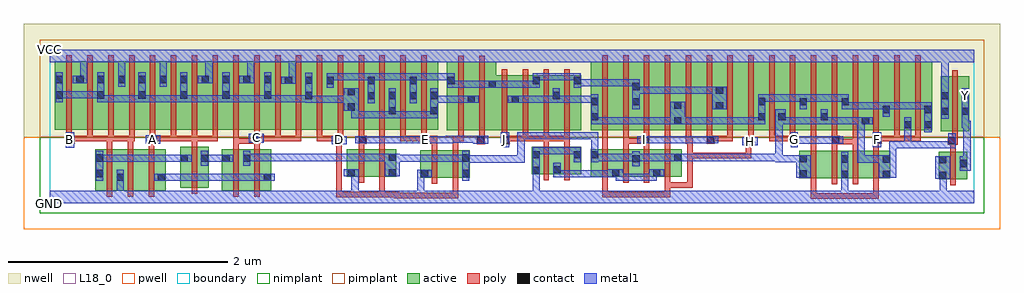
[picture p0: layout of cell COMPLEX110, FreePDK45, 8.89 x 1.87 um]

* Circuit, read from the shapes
.subckt COMPLEX110 A B C D E F G GND H I J VCC Y
M1 GND B n1 VSUBS nfet w=0.375u l=0.05u
M2 n2 B GND VSUBS nfet w=0.375u l=0.05u
M3 n3 A n2 VSUBS nfet w=0.375u l=0.05u
M4 n4 A n1 VSUBS nfet w=0.375u l=0.05u
M5 n5 C n4 VSUBS nfet w=0.375u l=0.05u
M6 n3 C n5 VSUBS nfet w=0.375u l=0.05u
M7 n6 E GND VSUBS nfet w=0.25u l=0.05u
M8 n5 D n6 VSUBS nfet w=0.25u l=0.05u
M9 n7 E GND VSUBS nfet w=0.25u l=0.05u
M10 n5 D n7 VSUBS nfet w=0.25u l=0.05u
M11 n8 J GND VSUBS nfet w=0.25u l=0.05u m=2
M12 n8 H n5 VSUBS nfet w=0.25u l=0.05u m=2
M13 n5 I n8 VSUBS nfet w=0.25u l=0.05u m=2
M14 n9 F n5 VSUBS nfet w=0.25u l=0.05u
M15 GND G n9 VSUBS nfet w=0.25u l=0.05u
M16 n10 G GND VSUBS nfet w=0.25u l=0.05u
M17 n5 F n10 VSUBS nfet w=0.25u l=0.05u
M18 Y n5 GND VSUBS nfet w=0.25u l=0.05u
M19 VCC B n11 n12 pfet w=0.625u l=0.05u m=4
M20 VCC A n11 n12 pfet w=0.625u l=0.05u m=4
M21 VCC C n11 n12 pfet w=0.625u l=0.05u m=4
M22 n13 D n11 n12 pfet w=0.625u l=0.05u m=4
M23 n13 E n11 n12 pfet w=0.625u l=0.05u m=4
M24 n14 J n13 n12 pfet w=0.5u l=0.05u m=4
M25 n15 H n14 n12 pfet w=0.625u l=0.05u
M26 n13 I n15 n12 pfet w=0.625u l=0.05u
M27 n16 I n13 n12 pfet w=0.625u l=0.05u
M28 n14 H n16 n12 pfet w=0.625u l=0.05u
M29 n17 H n14 n12 pfet w=0.625u l=0.05u
M30 n13 I n17 n12 pfet w=0.625u l=0.05u
M31 n18 I n13 n12 pfet w=0.625u l=0.05u
M32 n14 H n18 n12 pfet w=0.625u l=0.05u
M33 n5 G n14 n12 pfet w=0.625u l=0.05u m=4
M34 n5 F n14 n12 pfet w=0.625u l=0.05u m=4
M35 Y n5 VCC n12 pfet w=0.5u l=0.05u
.ends

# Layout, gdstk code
import gdstk
lib = gdstk.Library(unit=1e-6, precision=1e-09)
def R(c, l, rs):  # rectangles x0, y0, x1, y1
    for r in rs: c.add(gdstk.rectangle(r[:2], r[2:], *l))
def A(c, l, x, y, w, h, nx, ny, dx, dy):  # array of equal rectangles
    R(c, l, [(x+i*dx, y+j*dy, x+i*dx+w, y+j*dy+h) for i in range(nx) for j in range(ny)])
active = (1, 0)
pwell = (2, 0)
nwell = (3, 0)
nimplant = (4, 0)
pimplant = (5, 0)
poly = (9, 0)
contact = (10, 0)
metal1 = (11, 0)
L18_0 = (18, 0)
boundary = (235, 0)

complex110 = lib.new_cell('COMPLEX110')
A(complex110, active, 5.152, 0.667, 0.225, 0.625, 3, 1, 0.38, 0)
A(complex110, active, 5.302, 0.667, 0.23, 0.625, 3, 1, 0.38, 0)
A(complex110, active, 0.047, 0.67, 0.265, 0.625, 3, 1, 0.19, 0)
A(complex110, active, 1.377, 0.67, 0.265, 0.625, 4, 1, 0.19, 0)
A(complex110, active, 2.892, 0.67, 0.265, 0.625, 3, 1, 0.19, 0)
A(complex110, active, 0.237, 0.682, 0.075, 0.6, 6, 1, 0.38, 0)
A(complex110, active, 6.447, 0.682, 0.075, 0.518, 3, 1, 0.38, 0)
R(complex110, active, [(0.415,0.117,0.68,0.492), (0.605,0.117,0.83,0.492), (0.605,0.117,0.68,0.467), (0.83,0.117,1.055,0.492), (1.567,0.117,1.832,0.492), (1.757,0.117,2.017,0.492), (1.187,0.142,1.447,0.517), (0.415,0.172,0.49,0.492), (0.98,0.172,1.055,0.492), (1.187,0.172,1.262,0.517), (1.372,0.172,1.447,0.517), (1.567,0.172,1.642,0.492), (1.757,0.172,1.832,0.467), (1.942,0.172,2.017,0.492), (8.097,0.22,8.357,0.47), (8.097,0.22,8.172,0.47), (6.827,0.227,7.052,0.477), (7.052,0.227,7.277,0.477), (7.202,0.227,7.432,0.477), (7.202,0.227,7.277,0.467), (7.432,0.227,7.657,0.477), (7.582,0.227,7.657,0.477), (6.827,0.23,6.902,0.477), (8.282,0.232,8.357,0.47), (3.375,0.235,3.45,0.485), (3.375,0.235,3.6,0.485), (3.6,0.235,3.825,0.485), (3.75,0.235,3.825,0.485), (2.707,0.242,2.782,0.492), (2.707,0.242,2.932,0.492), (2.932,0.242,3.157,0.492), (3.082,0.242,3.157,0.492), (4.927,0.242,5.192,0.492), (5.117,0.242,5.377,0.492), (5.117,0.242,5.192,0.492), (5.302,0.242,5.567,0.492), (5.492,0.242,5.757,0.492), (5.492,0.242,5.567,0.387), (5.682,0.242,5.757,0.492), (4.392,0.265,4.467,0.515), (4.392,0.265,4.657,0.515), (4.582,0.265,4.842,0.515), (4.582,0.267,4.657,0.342), (4.767,0.297,4.842,0.515), (4.927,0.297,5.002,0.492), (5.302,0.297,5.377,0.492), (8.117,0.657,8.192,1.157), (8.117,0.657,8.377,1.157), (8.302,0.657,8.377,1.157), (3.617,0.665,3.877,1.29), (3.617,0.665,3.692,1.2), (3.802,0.665,4.067,1.29), (3.992,0.665,4.277,1.165), (4.202,0.665,4.467,1.165), (4.202,0.665,4.277,1.07), (4.392,0.665,4.652,1.165), (4.577,0.665,4.842,1.165), (4.927,0.667,5.152,1.292), (4.927,0.667,5.032,1.07), (5.682,0.667,5.757,1.07), (6.292,0.667,6.522,1.292), (6.447,0.667,6.707,1.292), (6.632,0.667,6.902,1.292), (6.827,0.667,7.092,1.292), (7.017,0.667,7.282,1.292), (7.207,0.667,7.467,1.292), (7.392,0.667,7.657,1.292), (7.582,0.667,7.852,1.292), (7.777,0.667,8.037,1.292), (7.777,0.667,7.852,1.07), (7.962,0.667,8.037,1.2), (0.047,0.67,0.122,1.2), (0.617,0.67,0.877,1.295), (0.802,0.67,1.072,1.295), (0.997,0.67,1.257,1.295), (1.182,0.67,1.452,1.295), (2.137,0.67,2.397,1.295), (2.322,0.67,2.592,1.295), (2.517,0.67,2.782,1.295), (2.707,0.67,2.967,1.295), (2.707,0.67,2.782,1.07), (3.462,0.67,3.537,1.07), (0.427,0.682,0.502,1.2), (0.802,0.682,0.877,1.2), (1.182,0.682,1.257,1.2), (1.567,0.682,1.642,1.2), (1.947,0.682,2.022,1.2), (2.322,0.682,2.397,1.2), (2.517,0.682,2.592,1.2), (2.892,0.682,2.967,1.2), (3.082,0.682,3.157,1.07), (3.272,0.682,3.347,1.2), (3.802,0.682,3.877,1.07), (4.577,0.682,4.652,1.07), (5.302,0.682,5.377,1.2), (6.062,0.682,6.137,1.2), (6.632,0.682,6.707,1.07), (7.017,0.682,7.092,1.07), (7.392,0.682,7.467,1.07), (7.582,0.682,7.657,1.2), (4.392,0.72,4.467,1.157), (4.767,0.72,4.842,1.157), (3.992,0.807,4.067,1.2)])
R(complex110, pwell, [(-0.235,-0.235,8.655,0.602)])
R(complex110, nwell, [(-0.235,0.602,8.655,1.635)])
R(complex110, nimplant, [(-0.09,-0.09,8.51,0.602)])
R(complex110, pimplant, [(-0.09,0.602,8.51,1.49)])
A(complex110, poly, 0.52, 0.062, 0.05, 0.485, 3, 1, 0.19, 0)
A(complex110, poly, 6.932, 0.172, 0.05, 0.36, 4, 1, 0.19, 0)
A(complex110, poly, 5.032, 0.187, 0.05, 0.36, 4, 1, 0.19, 0)
A(complex110, poly, 5.982, 0.542, 0.075, 0.075, 3, 1, 0.76, 0)
A(complex110, poly, 4.117, 0.565, 0.05, 0.095, 4, 1, 0.19, 0)
A(complex110, poly, 0.152, 0.567, 0.05, 0.098, 8, 1, 0.19, 0)
A(complex110, poly, 2.052, 0.567, 0.05, 0.05, 3, 1, 0.19, 0)
A(complex110, poly, 2.052, 0.567, 0.05, 0.098, 8, 1, 0.19, 0)
A(complex110, poly, 3.002, 0.567, 0.05, 0.05, 3, 1, 0.19, 0)
A(complex110, poly, 6.552, 0.567, 0.05, 0.095, 3, 1, 0.19, 0)
A(complex110, poly, 7.502, 0.567, 0.05, 0.095, 3, 1, 0.19, 0)
A(complex110, poly, 4.117, 0.61, 0.05, 0.61, 4, 1, 0.19, 0)
A(complex110, poly, 5.032, 0.612, 0.05, 0.735, 16, 1, 0.19, 0)
A(complex110, poly, 0.152, 0.615, 0.05, 0.735, 18, 1, 0.19, 0)
R(complex110, poly, [(6.932,0.04,6.982,0.09), (6.932,0.04,6.982,0.09), (6.932,0.04,6.982,0.09), (6.932,0.04,6.982,0.222), (6.932,0.04,7.197,0.09), (7.147,0.04,7.197,0.09), (7.147,0.04,7.197,0.09), (7.147,0.04,7.197,0.09), (7.147,0.04,7.42,0.09), (7.37,0.04,7.42,0.09), (7.37,0.04,7.42,0.09), (7.37,0.04,7.42,0.09), (7.37,0.04,7.552,0.09), (7.502,0.04,7.552,0.09), (7.502,0.04,7.552,0.222), (3.135,0.047,3.375,0.097), (3.135,0.047,3.185,0.105), (3.325,0.047,3.375,0.097), (3.325,0.047,3.375,0.097), (3.325,0.047,3.375,0.097), (3.325,0.047,3.587,0.097), (3.537,0.047,3.587,0.097), (3.537,0.047,3.587,0.097), (3.537,0.047,3.587,0.097), (3.537,0.047,3.72,0.097), (3.67,0.047,3.72,0.097), (3.67,0.047,3.72,0.23), (2.607,0.055,2.657,0.105), (2.607,0.055,2.657,0.105), (2.607,0.055,2.657,0.105), (2.607,0.055,2.657,0.105), (2.607,0.055,2.657,0.105), (2.607,0.055,2.92,0.105), (2.607,0.055,2.657,0.592), (2.87,0.055,2.92,0.105), (2.87,0.055,2.92,0.105), (2.87,0.055,2.92,0.105), (2.87,0.055,3.052,0.105), (3.002,0.055,3.052,0.105), (3.002,0.055,3.052,0.237), (3.002,0.055,3.185,0.105), (3.135,0.055,3.185,0.105), (3.135,0.055,3.185,0.105), (5.032,0.055,5.082,0.105), (5.032,0.055,5.082,0.237), (5.032,0.055,5.215,0.105), (5.165,0.055,5.215,0.105), (5.165,0.055,5.215,0.105), (5.165,0.055,5.215,0.105), (5.165,0.055,5.347,0.105), (5.297,0.055,5.347,0.105), (5.297,0.055,5.405,0.105), (5.355,0.055,5.405,0.105), (5.355,0.055,5.52,0.105), (5.47,0.055,5.52,0.105), (5.47,0.055,5.652,0.105), (5.602,0.055,5.652,0.192), (1.672,0.062,1.722,0.547), (1.862,0.062,1.912,0.547), (1.292,0.087,1.342,0.572), (5.602,0.142,5.652,0.237), (5.602,0.142,5.652,0.192), (5.602,0.142,5.652,0.192), (5.602,0.142,5.857,0.192), (5.807,0.142,5.857,0.192), (5.807,0.142,5.857,0.46), (8.202,0.165,8.252,0.525), (3.48,0.18,3.53,0.54), (3.67,0.18,3.72,0.54), (2.812,0.187,2.862,0.547), (3.002,0.187,3.052,0.547), (4.497,0.21,4.547,0.57), (4.687,0.21,4.737,0.57), (5.807,0.41,5.857,0.46), (5.807,0.41,5.857,0.46), (5.807,0.41,5.857,0.46), (5.807,0.41,5.857,0.592), (5.807,0.41,6.052,0.46), (6.002,0.41,6.052,0.46), (6.002,0.41,6.052,0.46), (6.002,0.41,6.052,0.46), (6.002,0.41,6.19,0.46), (6.14,0.41,6.19,0.46), (6.14,0.41,6.387,0.46), (6.337,0.41,6.387,0.46), (6.337,0.41,6.387,0.46), (6.337,0.41,6.387,0.46), (6.337,0.41,6.387,0.46), (6.337,0.41,6.387,0.46), (6.337,0.41,6.387,0.577), (8.202,0.475,8.252,0.582), (6.932,0.482,6.982,0.617), (7.122,0.482,7.172,0.59), (7.312,0.482,7.362,0.59), (7.502,0.482,7.552,0.592), (3.48,0.49,3.53,0.592), (3.67,0.49,3.72,0.615), (0.52,0.497,0.57,0.617), (0.71,0.497,0.76,0.617), (0.9,0.497,0.95,0.592), (1.672,0.497,1.722,0.592), (1.862,0.497,1.912,0.592), (2.812,0.497,2.862,0.592), (3.002,0.497,3.052,0.617), (5.032,0.497,5.082,0.617), (5.222,0.497,5.272,0.592), (5.412,0.497,5.462,0.592), (5.602,0.497,5.652,0.617), (4.497,0.52,4.547,0.615), (4.687,0.52,4.737,0.615), (1.292,0.522,1.342,0.617), (6.337,0.527,6.412,0.602), (8.18,0.532,8.272,0.607), (3.887,0.54,3.962,0.615), (4.115,0.54,4.19,0.615), (7.122,0.54,7.197,0.615), (7.147,0.54,7.197,0.59), (7.147,0.54,7.197,0.59), (7.147,0.54,7.362,0.59), (7.312,0.54,7.362,0.59), (7.312,0.54,7.362,0.662), (0.152,0.542,0.227,0.617), (0.9,0.542,0.977,0.617), (1.672,0.542,1.722,0.592), (1.672,0.542,1.722,0.592), (1.672,0.542,1.722,0.592), (1.672,0.542,1.892,0.592), (1.672,0.542,1.722,0.665), (1.842,0.542,1.917,0.62), (2.597,0.542,2.672,0.617), (2.607,0.542,2.657,0.592), (2.607,0.542,2.657,0.592), (2.812,0.542,2.887,0.617), (3.382,0.542,3.53,0.617), (5.222,0.542,5.272,0.592), (5.222,0.542,5.272,0.662), (5.222,0.542,5.347,0.592), (5.297,0.542,5.347,0.592), (5.297,0.542,5.437,0.592), (5.387,0.542,5.462,0.617), (5.792,0.542,5.842,0.592), (5.792,0.542,5.842,0.592), (5.792,0.542,5.842,0.662), (5.792,0.542,5.857,0.592), (6.362,0.552,6.412,0.662), (8.222,0.557,8.272,0.652), (3.67,0.565,3.772,0.615), (3.722,0.565,3.772,0.66), (3.912,0.565,3.962,0.66), (4.14,0.565,4.357,0.615), (4.307,0.565,4.357,0.615), (4.307,0.565,4.357,0.615), (4.307,0.565,4.357,0.615), (4.307,0.565,4.547,0.615), (4.497,0.565,4.547,0.615), (4.497,0.565,4.547,0.615), (4.497,0.565,4.547,0.615), (4.497,0.565,4.737,0.615), (4.687,0.565,4.737,0.615), (4.687,0.565,4.737,0.615), (4.687,0.565,4.737,0.615), (7.122,0.565,7.172,0.662), (0.177,0.567,0.227,0.617), (0.177,0.567,0.227,0.617), (0.177,0.567,0.392,0.617), (0.342,0.567,0.392,0.617), (0.342,0.567,0.57,0.617), (0.52,0.567,0.57,0.617), (0.52,0.567,0.57,0.617), (0.52,0.567,0.582,0.617), (0.532,0.567,0.76,0.617), (0.71,0.567,0.76,0.617), (0.71,0.567,0.76,0.617), (0.71,0.567,0.772,0.617), (0.927,0.567,0.977,0.617), (0.927,0.567,0.977,0.617), (0.927,0.567,1.152,0.617), (1.102,0.567,1.152,0.617), (1.102,0.567,1.152,0.617), (1.102,0.567,1.152,0.617), (1.102,0.567,1.342,0.617), (1.292,0.567,1.342,0.617), (1.292,0.567,1.342,0.617), (1.292,0.567,1.342,0.617), (1.292,0.567,1.532,0.617), (1.482,0.567,1.532,0.617), (1.867,0.567,1.917,0.617), (1.867,0.567,1.917,0.617), (1.867,0.567,2.102,0.617), (2.052,0.567,2.102,0.617), (2.052,0.567,2.102,0.617), (2.052,0.567,2.292,0.617), (2.432,0.567,2.482,0.617), (2.432,0.567,2.482,0.617), (2.432,0.567,2.647,0.617), (3.192,0.567,3.432,0.617), (3.382,0.567,3.432,0.617), (5.032,0.567,5.082,0.662), (5.032,0.567,5.082,0.617), (5.412,0.567,5.462,0.662), (5.602,0.567,5.652,0.662), (5.602,0.567,5.652,0.617), (5.982,0.567,6.032,0.662), (6.007,0.567,6.057,0.617), (6.007,0.567,6.057,0.617), (6.007,0.567,6.222,0.617), (6.172,0.567,6.222,0.662), (6.172,0.567,6.222,0.617), (6.552,0.567,6.602,0.617), (6.552,0.567,6.602,0.617), (6.552,0.567,6.602,0.617), (6.552,0.567,6.792,0.617), (6.932,0.567,6.982,0.617), (7.527,0.567,7.742,0.617), (7.692,0.567,7.742,0.617), (7.692,0.567,7.742,0.617), (7.692,0.567,7.742,0.617), (7.692,0.567,7.932,0.617), (7.882,0.567,7.932,0.617), (7.882,0.567,7.932,0.617), (7.882,0.567,7.932,0.617), (1.862,0.57,1.912,0.665), (8.222,0.602,8.272,1.212), (3.722,0.61,3.772,1.345), (3.912,0.61,3.962,1.345)])
A(complex110, contact, 5.987, 0.547, 0.065, 0.065, 3, 1, 0.76, 0)
A(complex110, contact, 0.052, 1.095, 0.065, 0.065, 4, 1, 0.19, 0)
A(complex110, contact, 1.382, 1.095, 0.065, 0.065, 4, 1, 0.19, 0)
R(complex110, contact, [(0.61,0.205,0.675,0.27), (0.985,0.205,1.05,0.27), (1.947,0.205,2.012,0.27), (8.102,0.225,8.167,0.29), (7.207,0.232,7.272,0.297), (7.587,0.232,7.652,0.297), (6.832,0.235,6.897,0.3), (0.42,0.24,0.485,0.305), (3.38,0.24,3.445,0.305), (3.755,0.24,3.82,0.305), (2.712,0.247,2.777,0.312), (3.087,0.247,3.152,0.312), (5.122,0.247,5.187,0.312), (5.497,0.247,5.562,0.312), (4.397,0.27,4.462,0.335), (4.587,0.272,4.652,0.337), (8.287,0.33,8.352,0.395), (8.102,0.365,8.167,0.43), (7.207,0.372,7.272,0.437), (7.587,0.372,7.652,0.437), (5.307,0.375,5.372,0.44), (6.832,0.375,6.897,0.44), (1.192,0.377,1.257,0.442), (1.377,0.377,1.442,0.442), (1.572,0.377,1.637,0.442), (1.762,0.377,1.827,0.442), (0.42,0.38,0.485,0.445), (3.755,0.38,3.82,0.445), (5.687,0.385,5.752,0.45), (3.087,0.387,3.152,0.452), (4.397,0.41,4.462,0.475), (4.772,0.41,4.837,0.475), (4.932,0.41,4.997,0.475), (6.342,0.532,6.407,0.597), (8.185,0.537,8.25,0.602), (3.892,0.545,3.957,0.61), (4.12,0.545,4.185,0.61), (7.127,0.545,7.192,0.61), (0.157,0.547,0.222,0.612), (0.907,0.547,0.972,0.612), (2.602,0.547,2.667,0.612), (2.817,0.547,2.882,0.612), (3.387,0.547,3.452,0.612), (5.392,0.547,5.457,0.612), (1.847,0.55,1.912,0.615), (7.967,0.682,8.032,0.747), (7.782,0.685,7.847,0.75), (5.687,0.72,5.752,0.785), (7.397,0.72,7.462,0.785), (4.932,0.755,4.997,0.82), (6.452,0.755,6.517,0.82), (6.637,0.755,6.702,0.82), (7.022,0.755,7.087,0.82), (8.122,0.807,8.187,0.872), (8.307,0.807,8.372,0.872), (3.087,0.81,3.152,0.875), (3.467,0.81,3.532,0.875), (7.587,0.822,7.652,0.887), (7.967,0.822,8.032,0.887), (2.712,0.845,2.777,0.91), (6.067,0.857,6.132,0.922), (5.687,0.86,5.752,0.925), (5.307,0.892,5.372,0.957), (6.832,0.892,6.897,0.957), (7.212,0.892,7.277,0.957), (4.932,0.895,4.997,0.96), (6.452,0.895,6.517,0.96), (3.807,0.915,3.872,0.98), (4.207,0.915,4.272,0.98), (2.897,0.947,2.962,1.012), (3.277,0.947,3.342,1.012), (8.122,0.947,8.187,1.012), (8.307,0.947,8.372,1.012), (2.327,0.95,2.392,1.015), (3.087,0.95,3.152,1.015), (3.467,0.95,3.532,1.015), (4.582,0.95,4.647,1.015), (0.052,0.955,0.117,1.02), (0.432,0.955,0.497,1.02), (0.807,0.955,0.872,1.02), (1.187,0.955,1.252,1.02), (1.572,0.955,1.637,1.02), (1.952,0.955,2.017,1.02), (2.712,0.985,2.777,1.05), (6.067,0.997,6.132,1.062), (5.307,1.032,5.372,1.097), (3.997,1.052,4.062,1.117), (2.522,1.087,2.587,1.152), (2.897,1.087,2.962,1.152), (3.277,1.087,3.342,1.152), (3.622,1.087,3.687,1.152), (4.397,1.087,4.462,1.152), (4.772,1.087,4.837,1.152), (2.142,1.09,2.207,1.155), (2.327,1.09,2.392,1.155), (0.807,1.095,0.872,1.16), (1.002,1.095,1.067,1.16), (1.187,1.095,1.252,1.16)])
R(complex110, metal1, [(0,0,8.42,0.115), (0.61,0.05,0.675,0.235), (2.747,0.05,2.812,0.115), (2.747,0.05,2.812,0.115), (2.747,0.05,2.812,0.115), (2.747,0.05,2.812,0.115), (2.747,0.05,2.812,0.312), (3.345,0.05,3.41,0.115), (3.345,0.05,3.41,0.115), (3.345,0.05,3.41,0.305), (4.397,0.05,4.462,0.115), (4.397,0.05,4.462,0.115), (4.397,0.05,4.462,0.115), (4.397,0.05,4.462,0.115), (4.397,0.05,4.462,0.3), (7.207,0.05,7.272,0.115), (7.207,0.05,7.272,0.115), (7.207,0.05,7.272,0.115), (7.207,0.05,7.272,0.115), (7.207,0.05,7.272,0.262), (8.105,0.05,8.17,0.29), (0.61,0.17,0.675,0.235), (0.61,0.17,0.675,0.235), (0.61,0.17,0.675,0.305), (7.207,0.197,7.272,0.472), (0.42,0.205,0.485,0.48), (0.95,0.205,1.085,0.27), (1.02,0.205,1.252,0.27), (1.187,0.205,1.252,0.27), (1.187,0.205,1.252,0.27), (1.187,0.205,1.252,0.27), (1.187,0.205,1.39,0.27), (1.325,0.205,1.39,0.27), (1.325,0.205,1.39,0.27), (1.325,0.205,1.39,0.27), (1.325,0.205,1.602,0.27), (1.537,0.205,1.602,0.27), (1.537,0.205,1.602,0.27), (1.537,0.205,1.602,0.27), (1.537,0.205,1.74,0.27), (1.675,0.205,1.74,0.27), (1.675,0.205,1.827,0.27), (1.762,0.205,1.827,0.27), (1.762,0.205,1.977,0.27), (1.912,0.205,1.977,0.27), (1.912,0.205,1.977,0.27), (1.912,0.205,2.047,0.27), (3.755,0.205,3.82,0.48), (5.157,0.205,5.36,0.27), (5.157,0.205,5.222,0.302), (5.295,0.205,5.36,0.27), (5.295,0.205,5.527,0.27), (5.462,0.205,5.527,0.312), (8.067,0.225,8.202,0.43), (8.105,0.225,8.17,0.29), (8.105,0.225,8.17,0.29), (8.105,0.225,8.17,0.29), (8.105,0.225,8.17,0.29), (7.552,0.232,7.71,0.437), (4.397,0.235,4.462,0.51), (6.797,0.235,6.932,0.44), (4.587,0.237,4.652,0.372), (4.587,0.237,4.86,0.302), (4.795,0.237,4.86,0.302), (4.795,0.237,4.86,0.302), (4.795,0.237,4.86,0.302), (4.795,0.237,4.997,0.302), (4.932,0.237,4.997,0.302), (4.932,0.237,4.997,0.302), (4.932,0.237,4.997,0.302), (4.932,0.237,5.152,0.302), (5.087,0.237,5.222,0.312), (5.157,0.237,5.222,0.302), (3.345,0.24,3.41,0.305), (3.345,0.24,3.41,0.305), (3.345,0.24,3.48,0.305), (2.677,0.247,2.812,0.312), (3.052,0.247,3.187,0.452), (5.462,0.247,5.527,0.312), (5.462,0.247,5.597,0.312), (8.287,0.295,8.387,0.43), (5.307,0.34,5.372,0.475), (1.377,0.342,1.442,0.477), (1.762,0.342,1.827,0.477), (8.322,0.365,8.387,0.752), (3.755,0.372,4.035,0.437), (3.97,0.372,4.035,0.437), (3.97,0.372,4.035,0.437), (3.97,0.372,4.035,0.437), (3.97,0.372,4.325,0.437), (4.26,0.372,4.325,0.647), (4.26,0.372,4.325,0.437), (4.26,0.372,4.325,0.437), (4.26,0.372,4.325,0.437), (7.357,0.372,7.422,0.437), (7.357,0.372,7.422,0.437), (7.357,0.372,7.422,0.437), (7.357,0.372,7.422,0.437), (7.357,0.372,7.422,0.437), (7.357,0.372,7.617,0.437), (7.357,0.372,7.422,0.785), (7.645,0.372,7.71,0.567), (4.772,0.375,4.837,0.51), (4.932,0.375,4.997,0.51), (6.61,0.375,6.675,0.44), (6.61,0.375,6.675,0.44), (6.61,0.375,6.862,0.44), (6.61,0.375,6.675,0.45), (0.42,0.377,0.635,0.442), (0.57,0.377,0.635,0.442), (0.57,0.377,0.635,0.442), (0.57,0.377,0.635,0.442), (0.57,0.377,0.772,0.442), (0.707,0.377,0.772,0.442), (0.707,0.377,0.772,0.442), (0.707,0.377,0.772,0.442), (0.707,0.377,1.01,0.442), (0.945,0.377,1.01,0.442), (0.945,0.377,1.01,0.442), (0.945,0.377,1.01,0.442), (0.945,0.377,1.222,0.442), (1.157,0.377,1.222,0.442), (1.157,0.377,1.222,0.442), (1.157,0.377,1.292,0.442), (1.377,0.377,1.602,0.442), (1.537,0.377,1.602,0.442), (1.537,0.377,1.602,0.442), (1.537,0.377,1.672,0.442), (3.122,0.377,3.205,0.442), (3.14,0.377,3.205,0.442), (3.14,0.377,3.342,0.442), (3.277,0.377,3.342,0.442), (3.277,0.377,3.532,0.442), (3.467,0.377,3.532,0.442), (3.467,0.377,3.532,0.442), (3.467,0.377,3.532,0.442), (3.467,0.377,3.67,0.442), (3.605,0.377,3.67,0.442), (3.605,0.377,3.67,0.442), (3.605,0.377,3.67,0.442), (3.605,0.377,3.82,0.442), (1.762,0.385,1.965,0.45), (1.9,0.385,1.965,0.45), (1.9,0.385,1.965,0.45), (1.9,0.385,1.965,0.45), (1.9,0.385,2.155,0.45), (2.09,0.385,2.155,0.45), (2.09,0.385,2.155,0.45), (2.09,0.385,2.155,0.45), (2.09,0.385,2.292,0.45), (2.227,0.385,2.292,0.45), (2.227,0.385,2.43,0.45), (2.365,0.385,2.43,0.45), (2.365,0.385,2.43,0.45), (2.365,0.385,2.43,0.45), (2.365,0.385,2.587,0.45), (2.522,0.385,2.587,0.45), (2.522,0.385,2.587,0.45), (2.522,0.385,2.587,0.45), (2.522,0.385,2.725,0.45), (2.66,0.385,2.725,0.45), (2.66,0.385,2.725,0.45), (2.66,0.385,2.725,0.45), (2.66,0.385,2.98,0.45), (2.915,0.385,2.98,0.45), (2.915,0.385,3.055,0.45), (2.99,0.385,3.055,0.45), (2.99,0.385,3.117,0.45), (4.932,0.385,4.997,0.45), (4.932,0.385,4.997,0.45), (4.932,0.385,5.135,0.45), (5.07,0.385,5.135,0.45), (5.07,0.385,5.135,0.45), (5.07,0.385,5.135,0.45), (5.07,0.385,5.372,0.45), (5.307,0.385,5.372,0.45), (5.307,0.385,5.372,0.45), (5.307,0.385,5.51,0.45), (5.445,0.385,5.51,0.45), (5.445,0.385,5.717,0.45), (5.652,0.385,5.717,0.45), (5.652,0.385,5.717,0.45), (5.652,0.385,5.787,0.45), (5.722,0.385,5.88,0.45), (5.815,0.385,5.88,0.45), (5.815,0.385,5.942,0.45), (5.877,0.385,5.942,0.45), (5.877,0.385,6.095,0.45), (6.03,0.385,6.095,0.45), (6.03,0.385,6.095,0.45), (6.03,0.385,6.095,0.45), (6.03,0.385,6.232,0.45), (6.167,0.385,6.232,0.45), (6.167,0.385,6.38,0.45), (6.315,0.385,6.38,0.45), (6.315,0.385,6.38,0.45), (6.315,0.385,6.38,0.45), (6.315,0.385,6.537,0.45), (6.472,0.385,6.537,0.45), (6.472,0.385,6.537,0.45), (6.472,0.385,6.537,0.45), (6.472,0.385,6.675,0.45), (6.61,0.385,6.675,0.45), (6.61,0.385,6.675,0.45), (6.61,0.385,6.675,0.785), (4.397,0.445,4.462,0.51), (4.397,0.445,4.462,0.51), (4.397,0.445,4.7,0.51), (4.635,0.445,4.7,0.51), (4.635,0.445,4.7,0.51), (4.635,0.445,4.7,0.51), (4.635,0.445,4.837,0.51), (4.772,0.445,4.837,0.51), (4.772,0.445,4.837,0.51), (4.932,0.445,4.997,0.647), (7.645,0.502,7.71,0.567), (7.645,0.502,7.71,0.567), (7.645,0.502,7.71,0.567), (7.645,0.502,7.847,0.567), (7.782,0.502,7.847,0.567), (7.782,0.502,7.985,0.567), (7.782,0.502,7.847,0.715), (7.92,0.502,7.985,0.567), (7.92,0.502,7.985,0.567), (7.92,0.502,7.985,0.567), (7.92,0.502,8.14,0.567), (8.075,0.502,8.14,0.567), (8.075,0.502,8.25,0.567), (8.185,0.502,8.25,0.637), (0.147,0.507,0.222,0.647), (4.107,0.51,4.185,0.647), (7.495,0.51,7.572,0.647), (6.747,0.512,6.812,0.647), (6.305,0.527,6.447,0.6), (2.567,0.537,2.707,0.612), (0.872,0.542,1.007,0.62), (3.857,0.545,3.992,0.617), (6.747,0.545,6.887,0.61), (6.822,0.545,6.887,0.61), (6.822,0.545,6.977,0.61), (6.912,0.545,6.977,0.61), (6.912,0.545,7.035,0.61), (6.97,0.545,7.035,0.61), (6.97,0.545,7.157,0.61), (7.092,0.545,7.227,0.61), (2.782,0.547,2.917,0.612), (2.852,0.547,2.95,0.612), (2.885,0.547,2.95,0.612), (2.885,0.547,3.055,0.612), (2.99,0.547,3.055,0.612), (2.99,0.547,3.205,0.612), (3.14,0.547,3.205,0.612), (3.14,0.547,3.205,0.612), (3.14,0.547,3.205,0.612), (3.14,0.547,3.342,0.612), (3.277,0.547,3.342,0.612), (3.277,0.547,3.417,0.612), (3.352,0.547,3.487,0.612), (3.422,0.547,3.487,0.612), (3.422,0.547,3.487,0.612), (3.422,0.547,3.67,0.612), (3.605,0.547,3.67,0.612), (3.605,0.547,3.67,0.612), (3.605,0.547,3.67,0.617), (5.352,0.547,5.492,0.612), (5.427,0.547,5.58,0.612), (5.515,0.547,5.58,0.612), (5.515,0.547,5.73,0.612), (5.665,0.547,5.73,0.612), (5.665,0.547,5.73,0.612), (5.665,0.547,5.73,0.612), (5.665,0.547,5.867,0.612), (5.802,0.547,5.867,0.612), (5.802,0.547,5.925,0.612), (5.86,0.547,5.925,0.612), (5.86,0.547,6.017,0.612), (5.952,0.547,6.087,0.612), (1.812,0.55,1.947,0.632), (3.605,0.552,3.825,0.617), (3.76,0.552,3.825,0.617), (3.76,0.552,3.922,0.617), (4.26,0.582,4.325,0.647), (4.26,0.582,4.462,0.647), (4.397,0.582,4.462,0.647), (4.397,0.582,4.462,0.647), (4.397,0.582,4.462,0.647), (4.397,0.582,4.7,0.647), (4.635,0.582,4.7,0.647), (4.635,0.582,4.7,0.647), (4.635,0.582,4.7,0.647), (4.635,0.582,4.86,0.647), (4.795,0.582,4.86,0.647), (4.795,0.582,4.86,0.647), (4.795,0.582,4.86,0.647), (4.795,0.582,4.997,0.647), (4.932,0.582,4.997,0.647), (7.967,0.647,8.032,0.922), (7.782,0.65,7.847,0.785), (8.307,0.687,8.372,0.837), (8.307,0.687,8.387,0.752), (8.322,0.687,8.387,0.752), (8.322,0.687,8.387,0.752), (4.932,0.72,4.997,0.995), (4.932,0.72,4.997,0.785), (4.932,0.72,4.997,0.785), (4.932,0.72,5.135,0.785), (5.07,0.72,5.135,0.785), (5.07,0.72,5.135,0.785), (5.07,0.72,5.135,0.785), (5.07,0.72,5.372,0.785), (5.307,0.72,5.372,0.785), (5.307,0.72,5.51,0.785), (5.445,0.72,5.51,0.785), (5.445,0.72,5.51,0.785), (5.445,0.72,5.51,0.785), (5.445,0.72,5.717,0.785), (5.652,0.72,5.717,0.785), (5.652,0.72,5.717,0.785), (5.652,0.72,5.787,0.925), (5.722,0.72,5.88,0.785), (5.815,0.72,5.88,0.785), (5.815,0.72,5.925,0.785), (5.86,0.72,5.925,0.785), (5.86,0.72,6.08,0.785), (6.015,0.72,6.08,0.785), (6.015,0.72,6.08,0.785), (6.015,0.72,6.08,0.785), (6.015,0.72,6.232,0.785), (6.167,0.72,6.232,0.785), (6.167,0.72,6.232,0.785), (6.167,0.72,6.232,0.785), (6.167,0.72,6.37,0.785), (6.305,0.72,6.37,0.785), (6.305,0.72,6.517,0.785), (6.452,0.72,6.517,0.995), (6.61,0.72,6.702,0.855), (6.637,0.72,6.84,0.785), (6.775,0.72,6.84,0.785), (6.775,0.72,6.84,0.785), (6.775,0.72,6.84,0.785), (6.775,0.72,6.977,0.785), (6.912,0.72,6.977,0.785), (6.912,0.72,7.087,0.785), (7.022,0.72,7.087,0.855), (7.022,0.72,7.115,0.785), (7.05,0.72,7.115,0.785), (7.05,0.72,7.252,0.785), (7.187,0.72,7.252,0.785), (7.187,0.72,7.252,0.785), (7.187,0.72,7.252,0.785), (7.187,0.72,7.422,0.785), (7.357,0.72,7.497,0.785), (8.122,0.772,8.187,1.047), (8.307,0.772,8.372,1.047), (2.747,0.775,2.812,0.91), (2.747,0.775,2.98,0.84), (2.915,0.775,2.98,0.84), (2.915,0.775,3.055,0.84), (2.99,0.775,3.055,0.84), (2.99,0.775,3.152,0.84), (3.087,0.775,3.152,1.05), (3.087,0.775,3.192,0.84), (3.127,0.775,3.192,0.84), (3.127,0.775,3.342,0.84), (3.277,0.775,3.342,0.84), (3.277,0.775,3.342,0.84), (3.277,0.775,3.342,0.84), (3.277,0.775,3.532,0.84), (3.467,0.775,3.532,1.05), (7.587,0.787,7.652,0.922), (2.677,0.845,2.812,1.05), (2.747,0.845,2.812,0.91), (5.307,0.857,5.372,1.132), (6.032,0.857,6.167,1.062), (6.832,0.857,6.897,0.992), (7.212,0.857,7.277,0.922), (7.212,0.857,7.277,0.922), (7.212,0.857,7.277,0.992), (7.212,0.857,7.415,0.922), (7.35,0.857,7.415,0.922), (7.35,0.857,7.415,0.922), (7.35,0.857,7.415,0.922), (7.35,0.857,7.652,0.922), (7.587,0.857,7.847,0.922), (7.782,0.857,7.847,0.922), (7.782,0.857,7.847,0.922), (7.782,0.857,7.847,0.922), (7.782,0.857,7.985,0.922), (7.92,0.857,7.985,0.922), (7.92,0.857,8.032,0.922), (2.897,0.912,2.962,1.187), (3.277,0.912,3.342,1.187), (2.327,0.915,2.392,1.19), (2.327,0.915,2.43,0.98), (2.365,0.915,2.43,0.98), (2.365,0.915,2.587,0.98), (2.522,0.915,2.587,0.98), (2.522,0.915,2.587,0.98), (2.522,0.915,2.587,0.98), (2.522,0.915,2.742,0.98), (3.467,0.915,3.682,0.98), (3.617,0.915,3.682,0.98), (3.617,0.915,3.682,0.98), (3.617,0.915,3.682,0.98), (3.617,0.915,3.837,0.98), (3.772,0.915,3.907,0.98), (4.172,0.915,4.307,0.98), (4.242,0.915,4.462,0.98), (4.397,0.915,4.462,0.98), (4.397,0.915,4.462,0.98), (4.397,0.915,4.462,0.98), (4.397,0.915,4.647,0.98), (4.582,0.915,4.647,0.98), (4.582,0.915,4.647,0.98), (4.582,0.915,4.647,1.05), (4.582,0.915,4.86,0.98), (4.795,0.915,4.86,0.98), (4.795,0.915,4.86,0.98), (4.795,0.915,4.86,0.98), (4.795,0.915,4.997,0.98), (0.052,0.92,0.117,1.195), (0.432,0.92,0.497,1.195), (0.432,0.92,0.635,0.985), (0.57,0.92,0.635,0.985), (0.57,0.92,0.635,0.985), (0.57,0.92,0.635,0.985), (0.57,0.92,0.772,0.985), (0.707,0.92,0.772,0.985), (0.707,0.92,0.872,0.985), (0.807,0.92,0.872,1.195), (0.807,0.92,1.01,0.985), (0.945,0.92,1.01,0.985), (0.945,0.92,1.01,0.985), (0.945,0.92,1.01,0.985), (0.945,0.92,1.252,0.985), (1.187,0.92,1.252,1.195), (1.187,0.92,1.252,0.985), (1.187,0.92,1.252,0.985), (1.187,0.92,1.465,0.985), (1.4,0.92,1.465,0.985), (1.4,0.92,1.465,0.985), (1.4,0.92,1.465,0.985), (1.4,0.92,1.602,0.985), (1.537,0.92,1.602,0.985), (1.537,0.92,1.637,0.985), (1.572,0.92,1.637,1.195), (1.572,0.92,1.74,0.985), (1.675,0.92,1.74,0.985), (1.675,0.92,1.775,0.985), (1.71,0.92,1.775,0.985), (1.71,0.92,2.017,0.985), (1.952,0.92,2.017,1.195), (1.952,0.92,2.017,0.985), (1.952,0.92,2.017,0.985), (1.952,0.92,2.155,0.985), (2.09,0.92,2.155,0.985), (2.09,0.92,2.155,0.985), (2.09,0.92,2.155,0.985), (2.09,0.92,2.292,0.985), (2.227,0.92,2.292,0.985), (2.227,0.92,2.392,0.985), (6.452,0.927,6.517,0.992), (6.452,0.927,6.517,0.992), (6.452,0.927,6.675,0.992), (6.61,0.927,6.675,0.992), (6.61,0.927,6.675,0.992), (6.61,0.927,6.675,0.992), (6.61,0.927,6.897,0.992), (6.832,0.927,6.977,0.992), (6.912,0.927,6.977,0.992), (6.912,0.927,7.115,0.992), (7.05,0.927,7.115,0.992), (7.05,0.927,7.115,0.992), (7.05,0.927,7.115,0.992), (7.05,0.927,7.277,0.992), (0.052,0.957,0.117,1.022), (0.052,0.957,0.117,1.022), (0.052,0.957,0.347,1.022), (0.282,0.957,0.347,1.022), (0.282,0.957,0.347,1.022), (0.282,0.957,0.347,1.022), (0.282,0.957,0.497,1.022), (8.122,0.982,8.187,1.35), (5.307,0.997,5.372,1.062), (5.307,0.997,5.372,1.062), (5.307,0.997,5.51,1.062), (5.445,0.997,5.51,1.062), (5.445,0.997,5.73,1.062), (5.665,0.997,5.73,1.062), (5.665,0.997,5.73,1.062), (5.665,0.997,5.73,1.062), (5.665,0.997,5.88,1.062), (5.815,0.997,5.88,1.062), (5.815,0.997,5.925,1.062), (5.86,0.997,5.925,1.062), (5.86,0.997,6.095,1.062), (6.03,0.997,6.095,1.062), (6.03,0.997,6.097,1.062), (2.522,1.052,2.587,1.187), (3.622,1.052,3.687,1.117), (3.622,1.052,3.687,1.117), (3.622,1.052,3.687,1.187), (3.622,1.052,3.825,1.117), (3.76,1.052,3.825,1.117), (3.76,1.052,4.027,1.117), (3.962,1.052,4.027,1.117), (3.962,1.052,4.027,1.117), (3.962,1.052,4.097,1.117), (4.032,1.052,4.097,1.117), (4.032,1.052,4.097,1.117), (4.032,1.052,4.325,1.117), (4.26,1.052,4.325,1.117), (4.26,1.052,4.325,1.117), (4.26,1.052,4.325,1.117), (4.26,1.052,4.462,1.117), (4.397,1.052,4.462,1.117), (4.397,1.052,4.462,1.117), (4.397,1.052,4.462,1.187), (4.772,1.052,4.837,1.187), (0.622,1.06,0.687,1.195), (1.002,1.06,1.067,1.195), (4.772,1.067,4.997,1.132), (4.932,1.067,4.997,1.132), (4.932,1.067,4.997,1.132), (4.932,1.067,4.997,1.132), (4.932,1.067,5.135,1.132), (5.07,1.067,5.135,1.132), (5.07,1.067,5.135,1.132), (5.07,1.067,5.135,1.132), (5.07,1.067,5.372,1.132), (2.107,1.09,2.242,1.155), (2.177,1.09,2.242,1.35), (0.207,1.095,0.342,1.16), (0.277,1.095,0.342,1.35), (1.347,1.095,1.482,1.16), (1.417,1.095,1.482,1.35), (1.727,1.095,1.862,1.16), (1.797,1.095,1.862,1.35), (2.522,1.122,2.587,1.187), (2.522,1.122,2.587,1.187), (2.522,1.122,2.725,1.187), (2.66,1.122,2.725,1.187), (2.66,1.122,2.725,1.187), (2.66,1.122,2.725,1.187), (2.66,1.122,2.962,1.187), (2.897,1.122,3.055,1.187), (2.99,1.122,3.055,1.187), (2.99,1.122,3.205,1.187), (3.14,1.122,3.205,1.187), (3.14,1.122,3.205,1.187), (3.14,1.122,3.205,1.187), (3.14,1.122,3.342,1.187), (3.277,1.122,3.532,1.187), (3.467,1.122,3.532,1.187), (3.467,1.122,3.532,1.187), (3.467,1.122,3.532,1.187), (3.467,1.122,3.687,1.187), (4.397,1.122,4.6,1.187), (4.535,1.122,4.6,1.187), (4.535,1.122,4.6,1.187), (4.535,1.122,4.6,1.187), (4.535,1.122,4.837,1.187), (4.772,1.122,4.837,1.187), (4.772,1.122,4.837,1.187), (0.622,1.13,0.687,1.35), (1.002,1.13,1.067,1.35), (0,1.285,8.42,1.4), (8.122,1.285,8.187,1.35), (8.122,1.285,8.187,1.35)])
R(complex110, L18_0, [(0,0,8.42,0.115), (0.61,0.05,0.675,0.235), (2.747,0.05,2.812,0.115), (2.747,0.05,2.812,0.115), (2.747,0.05,2.812,0.115), (2.747,0.05,2.812,0.115), (2.747,0.05,2.812,0.312), (3.345,0.05,3.41,0.305), (3.345,0.05,3.41,0.115), (3.345,0.05,3.41,0.115), (4.397,0.05,4.462,0.115), (4.397,0.05,4.462,0.115), (4.397,0.05,4.462,0.115), (4.397,0.05,4.462,0.115), (4.397,0.05,4.462,0.3), (7.207,0.05,7.272,0.115), (7.207,0.05,7.272,0.115), (7.207,0.05,7.272,0.115), (7.207,0.05,7.272,0.115), (7.207,0.05,7.272,0.262), (8.105,0.05,8.17,0.29), (0.61,0.17,0.675,0.235), (0.61,0.17,0.675,0.235), (0.61,0.17,0.675,0.305), (7.207,0.197,7.272,0.472), (8.067,0.225,8.202,0.43), (8.105,0.225,8.17,0.29), (8.105,0.225,8.17,0.29), (8.105,0.225,8.17,0.29), (8.105,0.225,8.17,0.29), (4.397,0.235,4.462,0.51), (3.345,0.24,3.48,0.305), (3.345,0.24,3.41,0.305), (3.345,0.24,3.41,0.305), (2.677,0.247,2.812,0.312), (8.287,0.295,8.387,0.43), (8.322,0.365,8.387,0.752), (4.772,0.375,4.837,0.51), (4.397,0.445,4.462,0.51), (4.397,0.445,4.462,0.51), (4.397,0.445,4.7,0.51), (4.635,0.445,4.7,0.51), (4.635,0.445,4.7,0.51), (4.635,0.445,4.7,0.51), (4.635,0.445,4.837,0.51), (4.772,0.445,4.837,0.51), (4.772,0.445,4.837,0.51), (0.147,0.507,0.222,0.647), (4.107,0.51,4.185,0.647), (7.495,0.51,7.572,0.647), (6.747,0.512,6.812,0.647), (6.305,0.527,6.447,0.6), (6.347,0.527,6.412,0.592), (2.567,0.537,2.707,0.612), (0.872,0.542,1.007,0.62), (3.857,0.545,3.992,0.617), (6.747,0.545,6.887,0.61), (6.822,0.545,6.887,0.61), (6.822,0.545,6.977,0.61), (6.912,0.545,6.977,0.61), (6.912,0.545,7.035,0.61), (6.97,0.545,7.035,0.61), (6.97,0.545,7.157,0.61), (7.092,0.545,7.227,0.61), (0.147,0.547,0.212,0.612), (0.907,0.547,0.972,0.612), (2.607,0.547,2.672,0.612), (2.782,0.547,2.917,0.612), (2.852,0.547,2.95,0.612), (2.885,0.547,2.95,0.612), (2.885,0.547,3.055,0.612), (2.99,0.547,3.055,0.612), (2.99,0.547,3.205,0.612), (3.14,0.547,3.205,0.612), (3.14,0.547,3.205,0.612), (3.14,0.547,3.205,0.612), (3.14,0.547,3.342,0.612), (3.277,0.547,3.342,0.612), (3.277,0.547,3.417,0.612), (3.352,0.547,3.487,0.612), (3.387,0.547,3.452,0.612), (3.422,0.547,3.487,0.612), (3.422,0.547,3.487,0.612), (3.422,0.547,3.67,0.612), (3.605,0.547,3.67,0.612), (3.605,0.547,3.67,0.612), (3.605,0.547,3.67,0.617), (4.107,0.547,4.172,0.612), (5.352,0.547,5.492,0.612), (5.387,0.547,5.452,0.612), (5.427,0.547,5.58,0.612), (5.515,0.547,5.58,0.612), (5.515,0.547,5.73,0.612), (5.665,0.547,5.73,0.612), (5.665,0.547,5.73,0.612), (5.665,0.547,5.73,0.612), (5.665,0.547,5.867,0.612), (5.802,0.547,5.867,0.612), (5.802,0.547,5.925,0.612), (5.86,0.547,5.925,0.612), (5.86,0.547,6.017,0.612), (5.952,0.547,6.087,0.612), (6.747,0.547,6.812,0.612), (7.507,0.547,7.572,0.612), (1.812,0.55,1.947,0.632), (3.605,0.552,3.825,0.617), (3.76,0.552,3.825,0.617), (3.76,0.552,3.922,0.617), (1.847,0.567,1.912,0.632), (8.307,0.687,8.387,0.752), (8.307,0.687,8.372,0.837), (8.322,0.687,8.387,0.752), (8.322,0.687,8.387,0.752), (8.122,0.772,8.187,1.047), (8.307,0.772,8.372,1.047), (8.307,0.947,8.372,1.012), (8.122,0.982,8.187,1.35), (0.622,1.06,0.687,1.195), (1.002,1.06,1.067,1.195), (2.107,1.09,2.242,1.155), (2.177,1.09,2.242,1.35), (0.207,1.095,0.342,1.16), (0.277,1.095,0.342,1.35), (1.347,1.095,1.482,1.16), (1.417,1.095,1.482,1.35), (1.727,1.095,1.862,1.16), (1.797,1.095,1.862,1.35), (0.622,1.13,0.687,1.35), (1.002,1.13,1.067,1.35), (0,1.285,8.42,1.4), (8.122,1.285,8.187,1.35), (8.122,1.285,8.187,1.35)])
R(complex110, boundary, [(0,0,8.42,1.4)])
complex110.add(gdstk.Label('A', (0.94,0.58), layer=11, texttype=0))
complex110.add(gdstk.Label('B', (0.18,0.58), layer=11, texttype=0))
complex110.add(gdstk.Label('C', (1.88,0.6), layer=11, texttype=0))
complex110.add(gdstk.Label('D', (2.64,0.58), layer=11, texttype=0))
complex110.add(gdstk.Label('E', (3.42,0.58), layer=11, texttype=0))
complex110.add(gdstk.Label('F', (7.54,0.58), layer=11, texttype=0))
complex110.add(gdstk.Label('G', (6.78,0.58), layer=11, texttype=0))
complex110.add(gdstk.Label('H', (6.38,0.56), layer=11, texttype=0))
complex110.add(gdstk.Label('I', (5.42,0.58), layer=11, texttype=0))
complex110.add(gdstk.Label('J', (4.14,0.58), layer=11, texttype=0))
complex110.add(gdstk.Label('Y', (8.34,0.98), layer=11, texttype=0))
complex110.add(gdstk.Label('VCC', (0,1.4), layer=11, texttype=0))
complex110.add(gdstk.Label('GND', (0,0), layer=11, texttype=0))

lib.write_gds('COMPLEX110.gds')
